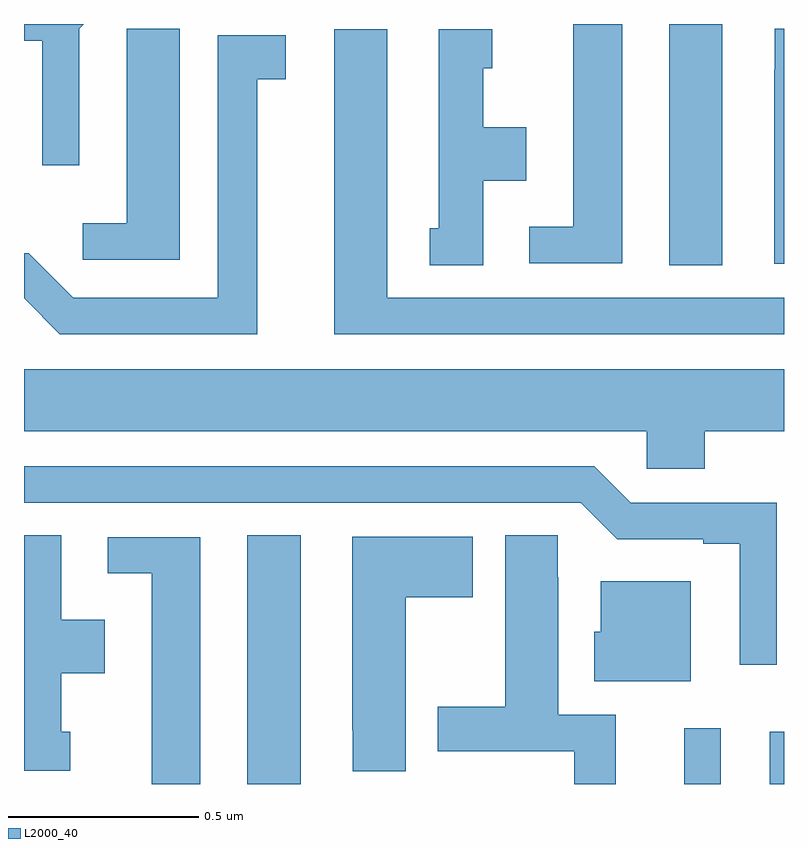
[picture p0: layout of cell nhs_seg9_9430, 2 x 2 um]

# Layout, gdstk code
import gdstk
lib = gdstk.Library(unit=1e-6, precision=1e-09)
def R(c, l, rs):  # rectangles x0, y0, x1, y1
    for r in rs: c.add(gdstk.rectangle(r[:2], r[2:], *l))
def P(c, l, *ps):  # polygons
    for p in ps: c.add(gdstk.Polygon(p, *l))
L2000_40 = (2000, 40)

nhs_seg9_9430 = lib.new_cell('nhs_seg9_9430')
R(nhs_seg9_9430, L2000_40, [(230.588,1187.5,230.728,1188.155), (231.737,1187.5,231.834,1187.647), (231.962,1187.5,232,1187.638), (231.698,1188.865,231.838,1189.5)])
P(nhs_seg9_9430, L2000_40, [(230.145,1189.488),(230.157,1189.5),(230,1189.5),(230,1189.456),(230.048,1189.456),(230.048,1189.128),(230.145,1189.128)],
  [(231.574,1189.5),(231.446,1189.5),(231.446,1188.966),(231.33,1188.966),(231.33,1188.87),(231.574,1188.87)],
  [(232,1189.487),(231.975,1189.487),(231.975,1189.379),(231.974,1189.379),(231.974,1188.869),(232,1188.869)],
  [(230.41,1189.487),(230.271,1189.487),(230.271,1189.379),(230.27,1189.379),(230.27,1188.976),(230.154,1188.976),(230.154,1188.879),(230.41,1188.879)],
  [(231.208,1189.088),(231.322,1189.088),(231.322,1189.228),(231.208,1189.228),(231.208,1189.383),(231.232,1189.383),(231.232,1189.486),(231.092,1189.486),(231.092,1188.963),(231.068,1188.963),(231.068,1188.865),(231.208,1188.865)],
  [(232,1188.78),(230.956,1188.78),(230.956,1189.486),(230.816,1189.486),(230.816,1188.684),(232,1188.684)],
  [(230.614,1189.354),(230.689,1189.354),(230.689,1189.47),(230.51,1189.47),(230.51,1188.78),(230.13,1188.78),(230.013,1188.897),(230,1188.897),(230,1188.778),(230.094,1188.684),(230.614,1188.684)],
  [(231.791,1188.428),(232,1188.428),(232,1188.592),(230,1188.592),(230,1188.428),(231.639,1188.428),(231.639,1188.33),(231.791,1188.33)],
  [(231.981,1188.24),(231.597,1188.24),(231.501,1188.336),(230,1188.336),(230,1188.24),(231.465,1188.24),(231.561,1188.144),(231.788,1188.144),(231.788,1188.132),(231.884,1188.132),(231.884,1187.814),(231.981,1187.814)],
  [(231.557,1187.682),(231.406,1187.682),(231.406,1188.044),(231.405,1188.044),(231.405,1188.155),(231.266,1188.155),(231.266,1187.703),(231.089,1187.703),(231.089,1187.586),(231.448,1187.586),(231.448,1187.5),(231.557,1187.5)],
  [(230.122,1187.637),(230.098,1187.637),(230.098,1187.792),(230.212,1187.792),(230.212,1187.932),(230.098,1187.932),(230.098,1188.155),(230,1188.155),(230,1187.535),(230.122,1187.535)],
  [(231.004,1187.992),(231.181,1187.992),(231.181,1188.151),(230.864,1188.151),(230.864,1187.641),(230.865,1187.641),(230.865,1187.533),(231.004,1187.533)],
  [(230.464,1188.15),(230.22,1188.15),(230.22,1188.054),(230.336,1188.054),(230.336,1187.5),(230.464,1187.5)],
  [(231.754,1188.034),(231.518,1188.034),(231.518,1187.901),(231.5,1187.901),(231.5,1187.771),(231.754,1187.771)])

lib.write_gds('nhs_seg9_9430.gds')
